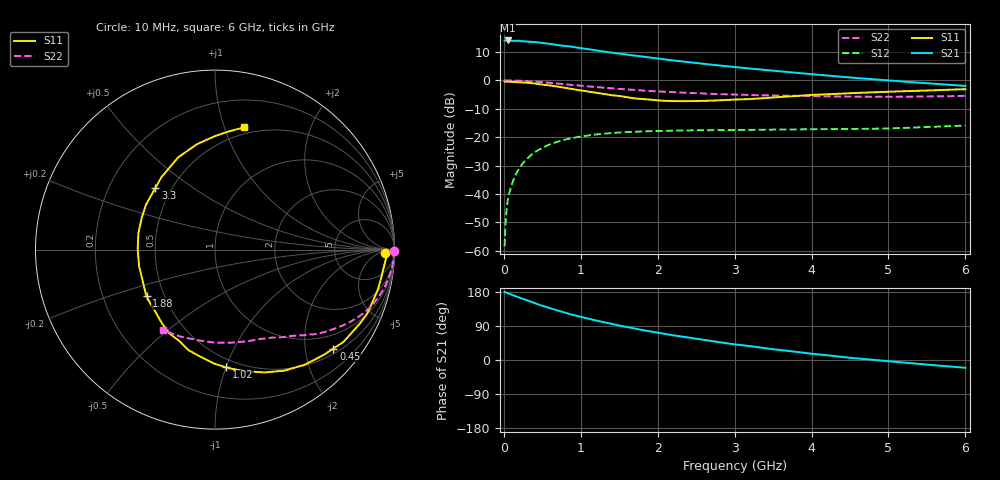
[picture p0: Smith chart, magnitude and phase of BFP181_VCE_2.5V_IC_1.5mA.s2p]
! Infineon Technologies  Discrete & RF Semiconductors
! BFP181
! VCE = 2.5 V,  IC =  1.5 mA
! Common Emitter S-Parameters:  Jan 2016
# GHz  S  MA  R  50
!  f  S11  S21  S12  S22
! GHz  MAG  ANG  MAG  ANG  MAG  ANG  MAG  ANG
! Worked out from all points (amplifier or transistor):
!   210 points, 10 MHz to 6 GHz, reference 50 ohm
!   highest |S21| = 14.1 dB at 50 MHz (marker M1)
!   |S21| within 3 dB of that: start of sweep to 1.084 GHz
!   unconditionally stable (mu >= 1): 2.677 GHz to end of sweep
!   at 185 MHz: K = 0.09, MSG = 22.8 dB, |S12| = -31.7 dB
!   at 1.52 GHz: K = 0.61, MSG = 13.8 dB, |S12| = -18.3 dB
!   at 6 GHz: K = 1.18, MAG = 4.4 dB, |S12| = -15.9 dB
!   S11 on the Smith chart (normalised r, x): 10 MHz: 31, -11; 450 MHz: 0.62, -2.63; 1.02 GHz: 0.43, -1.00; 1.88 GHz: 0.40, -0.26; 3.3 GHz: 0.41, +0.36; 6 GHz: 0.44, +1.17
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0.01  0.9447 -1.2  4.986 179.5  0.0012 90.4  0.9978 -0.3
0.015  0.9512 -1.6  5.004 179.2  0.0019 84.2  0.9976 -0.6
0.03  0.9551 -2.7  5.028 178.1  0.0043 86.2  0.997 -1.3
0.05  0.9502 -4.4  5.041 176.2  0.0076 89.5  0.9961 -2.0
0.115  0.9376 -10.6  4.958 171.3  0.0163 81.4  0.9935 -4.7
0.185  0.9272 -16.8  4.97 165.9  0.0261 79.1  0.9858 -7.6
0.4  0.8814 -35.7  4.743 150.0  0.054 67.7  0.9507 -15.9
0.45  0.8598 -39.9  4.643 146.6  0.0593 64.8  0.9394 -17.7
0.6  0.8129 -52.1  4.389 136.8  0.0747 58.0  0.9046 -22.7
0.8  0.7386 -67.9  4.059 124.6  0.0908 49.8  0.8542 -28.2
1.02  0.6587 -84.7  3.658 112.7  0.1032 42.0  0.7992 -33.4
1.26  0.5885 -101.6  3.273 101.5  0.1136 34.9  0.7506 -38.2
1.5  0.5314 -118.7  2.971 90.9  0.1208 29.8  0.7068 -42.0
1.88  0.4598 -146.0  2.544 76.3  0.1265 23.2  0.6521 -47.4
2.02  0.4415 -155.0  2.399 71.5  0.1287 21.4  0.6372 -49.2
2.2  0.4329 -167.6  2.244 65.2  0.1302 19.0  0.6196 -51.8
2.58  0.4352 169.0  1.963 53.7  0.1319 15.4  0.5853 -56.8
3.1  0.4625 142.6  1.667 39.0  0.1338 11.9  0.5545 -64.4
3.3  0.4775 134.2  1.566 34.0  0.1348 11.0  0.5472 -67.5
4.1  0.5603 109.1  1.25 14.6  0.1376 8.0  0.5236 -82.0
5.1  0.6366 88.9  0.974 -5.0  0.1436 7.5  0.5138 -102.9
6  0.6991 76.7  0.797 -20.6  0.1599 6.6  0.5334 -122.6
